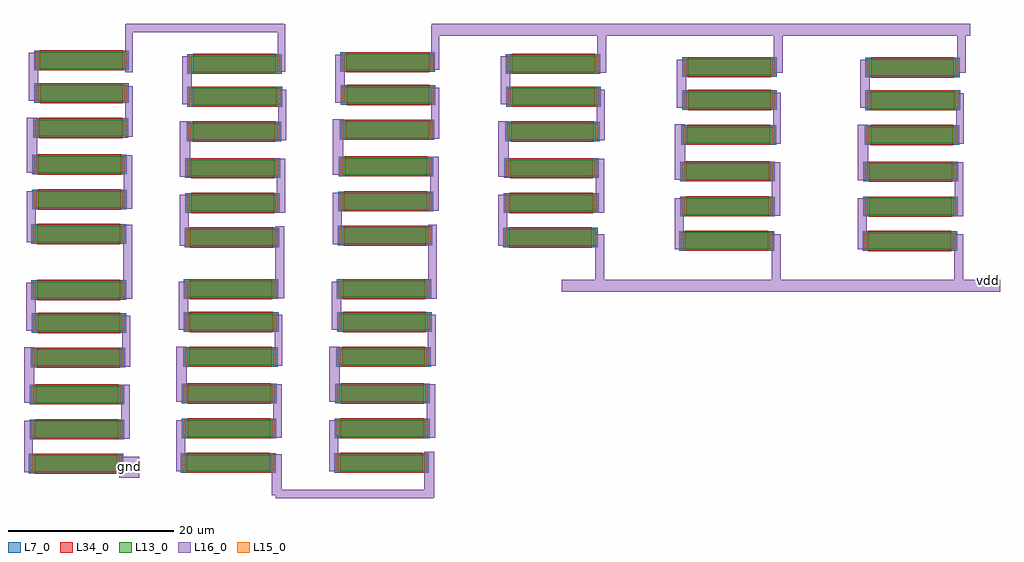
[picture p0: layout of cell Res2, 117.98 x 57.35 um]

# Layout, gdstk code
import gdstk
lib = gdstk.Library(unit=1e-6, precision=1e-09)
def R(c, l, rs):  # rectangles x0, y0, x1, y1
    for r in rs: c.add(gdstk.rectangle(r[:2], r[2:], *l))
def A(c, l, x, y, w, h, nx, ny, dx, dy):  # array of equal rectangles
    R(c, l, [(x+i*dx, y+j*dy, x+i*dx+w, y+j*dy+h) for i in range(nx) for j in range(ny)])
L7_0 = (7, 0)
L13_0 = (13, 0)
L15_0 = (15, 0)
L16_0 = (16, 0)
L34_0 = (34, 0)

res1 = lib.new_cell('Res1')
R(res1, L7_0, [(1.36,1.69,12.8,4.05), (1.36,1.69,12.8,4.05), (1.455,5.85,12.895,8.21), (1.455,5.85,12.895,8.21), (1.475,10.08,12.915,12.44), (1.475,10.08,12.915,12.44), (1.615,14.5,13.055,16.86), (1.615,14.5,13.055,16.86), (1.71,18.705,13.15,21.065), (1.71,18.705,13.15,21.065), (1.68,22.675,13.12,25.035), (1.68,22.675,13.12,25.035)])
R(res1, L13_0, [(1.54,1.87,2.08,3.87), (2.08,1.87,12.08,3.87), (12.08,1.87,12.62,3.87), (1.635,6.03,2.175,8.03), (2.175,6.03,12.175,8.03), (12.175,6.03,12.715,8.03), (1.655,10.26,2.195,12.26), (2.195,10.26,12.195,12.26), (12.195,10.26,12.735,12.26), (1.795,14.68,2.335,16.68), (2.335,14.68,12.335,16.68), (12.335,14.68,12.875,16.68), (1.89,18.885,2.43,20.885), (2.43,18.885,12.43,20.885), (12.43,18.885,12.97,20.885), (1.86,22.855,2.4,24.855), (2.4,22.855,12.4,24.855), (12.4,22.855,12.94,24.855)])
A(res1, L15_0, 1.64, 2.5, 0.22, 0.22, 1, 3, 0, 0.525)
A(res1, L15_0, 12.3, 2.5, 0.22, 0.22, 1, 3, 0, 0.525)
A(res1, L15_0, 1.735, 6.66, 0.22, 0.22, 1, 3, 0, 0.525)
A(res1, L15_0, 12.395, 6.66, 0.22, 0.22, 1, 3, 0, 0.525)
A(res1, L15_0, 1.755, 10.89, 0.22, 0.22, 1, 3, 0, 0.525)
A(res1, L15_0, 12.415, 10.89, 0.22, 0.22, 1, 3, 0, 0.525)
A(res1, L15_0, 1.895, 15.31, 0.22, 0.22, 1, 3, 0, 0.525)
A(res1, L15_0, 12.555, 15.31, 0.22, 0.22, 1, 3, 0, 0.525)
A(res1, L15_0, 1.99, 19.515, 0.22, 0.22, 1, 3, 0, 0.525)
A(res1, L15_0, 12.65, 19.515, 0.22, 0.22, 1, 3, 0, 0.525)
A(res1, L15_0, 1.96, 23.485, 0.22, 0.22, 1, 3, 0, 0.525)
A(res1, L15_0, 12.62, 23.485, 0.22, 0.22, 1, 3, 0, 0.525)
R(res1, L15_0, [(1.64,1.97,1.86,2.19), (12.3,1.97,12.52,2.19), (1.735,6.13,1.955,6.35), (12.395,6.13,12.615,6.35), (1.755,10.36,1.975,10.58), (12.415,10.36,12.635,10.58), (1.895,14.78,2.115,15), (12.555,14.78,12.775,15), (1.99,18.985,2.21,19.205), (12.65,18.985,12.87,19.205), (1.96,22.955,2.18,23.175), (12.62,22.955,12.84,23.175)])
R(res1, L16_0, [(0.79,1.865,1.865,8.04), (1.58,1.91,1.92,3.83), (12.24,1.91,12.58,3.83), (12.53,5.89,13.56,12.39), (1.675,6.07,2.015,7.99), (12.335,6.07,12.675,7.99), (0.79,10.24,2.05,16.93), (1.695,10.3,2.035,12.22), (12.355,10.3,12.695,12.22), (12.69,14.61,13.625,20.74), (1.835,14.72,2.175,16.64), (12.495,14.72,12.835,16.64), (1.93,18.925,2.27,20.845), (12.59,18.925,12.93,20.845), (1.07,18.95,2.215,24.77), (1.9,22.895,2.24,24.815), (12.56,22.895,12.9,24.815)])
R(res1, L34_0, [(2.08,1.65,12.08,4.09), (2.175,5.81,12.175,8.25), (2.195,10.04,12.195,12.48), (2.335,14.46,12.335,16.9), (2.43,18.665,12.43,21.105), (2.4,22.635,12.4,25.075)])
res1.add(gdstk.Label('[@instanceName]', (7.08,2.87), layer=230, texttype=0))
res1.add(gdstk.Label('[@instanceName]', (7.175,7.03), layer=230, texttype=0))
res1.add(gdstk.Label('[@instanceName]', (7.195,11.26), layer=230, texttype=0))
res1.add(gdstk.Label('[@instanceName]', (7.335,15.68), layer=230, texttype=0))
res1.add(gdstk.Label('[@instanceName]', (7.43,19.885), layer=230, texttype=0))
res1.add(gdstk.Label('[@instanceName]', (7.4,23.855), layer=230, texttype=0))

res2 = lib.new_cell('Res2')
R(res2, L16_0, [(38.71,0.72,57.755,1.73), (56.69,0.775,57.86,6.36), (38.225,1.055,39.45,6.055), (19.82,3.22,22.215,5.72), (57.13,24.84,58.195,33.78), (20.26,24.845,21.38,33.78), (38.67,24.895,39.73,33.57), (73.275,25.68,126.26,27.155), (77.365,26.76,78.43,32.61), (98.675,26.76,99.74,32.61), (120.73,26.76,121.795,32.61), (77.605,52.12,78.67,57.97), (98.915,52.12,99.98,57.97), (121.075,52.12,122.14,57.97), (20.515,52.22,21.415,58.02), (38.975,52.27,39.875,58.015), (57.49,52.49,58.505,57.865), (57.6,56.595,122.645,58.07), (20.62,57.06,39.665,58.07)])
res2.add(gdstk.Reference(res1, (108.28,28.94)))
res2.add(gdstk.Reference(res1, (64.845,29.365)))
res2.add(gdstk.Reference(res1, (44.845,29.58)))
res2.add(gdstk.Reference(res1, (26.33,29.365)))
res2.add(gdstk.Reference(res1, (7.815,29.795)))
res2.add(gdstk.Reference(res1, (86.145,28.97)))
res2.add(gdstk.Reference(res1, (44.415,2.13)))
res2.add(gdstk.Reference(res1, (25.9,2.13)))
res2.add(gdstk.Reference(res1, (7.495,2.025)))
res2.add(gdstk.Label('gnd', (21.03,4.515), layer=16, texttype=3))
res2.add(gdstk.Label('vdd', (124.93,27.025), layer=16, texttype=3))

lib.write_gds('Res2.gds')
